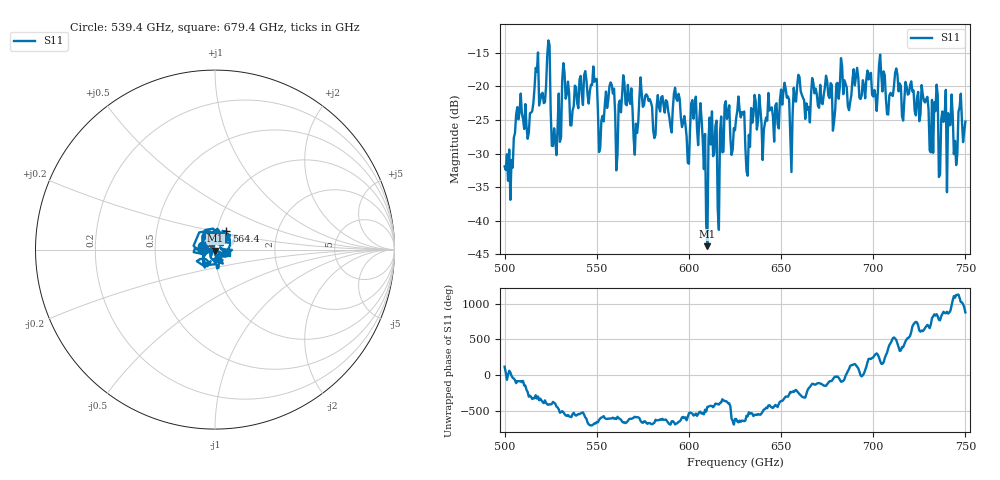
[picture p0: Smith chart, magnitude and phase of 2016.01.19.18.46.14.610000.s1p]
!Created with skrf (http://scikit-rf.org).
# GHz S RI R 50.0
!freq ReS11 ImS11
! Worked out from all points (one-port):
!   401 points, 500 GHz to 750 GHz, reference 50 ohm
!   lowest |S11| = -43.8 dB at 610 GHz (marker M1), VSWR 1.01, Z = 50.1 - j0.642 ohm
!   |S11| at or under -10 dB: start of sweep to end of sweep
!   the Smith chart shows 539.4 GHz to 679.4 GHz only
!   S11 on the Smith chart (normalised r, x): 539.4 GHz: 0.86, +0.03; 564.4 GHz: 1.11, +0.23; 679.4 GHz: 1.14, -0.05
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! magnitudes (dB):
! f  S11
! 500 GHz  -31.9
! 516.9 GHz  -17.2
! 523.8 GHz  -13.2
! 526.9 GHz  -26.2
! 531.2 GHz  -19.1
! 539.4 GHz  -22.5
! 562.5 GHz  -22.1
! 564.4 GHz  -18.3
! 571.2 GHz  -25.6
! 574.4 GHz  -21.0
! 593.8 GHz  -22.2
! 599.4 GHz  -31.3
! 602.5 GHz  -24.8
! 610 GHz  -43.8
! 611.9 GHz  -28.7
! 616.9 GHz  -26.8
! 620.6 GHz  -24.8
! 625 GHz  -26.5
! 628.1 GHz  -24.6
! 631.9 GHz  -33.3
! 635 GHz  -24.3
! 651.2 GHz  -20.9
! 656.2 GHz  -24.2
! 660 GHz  -18.6
! 679.4 GHz  -23.4
! 687.5 GHz  -22.3
! 718.8 GHz  -21.2
! 750 GHz  -25.2
